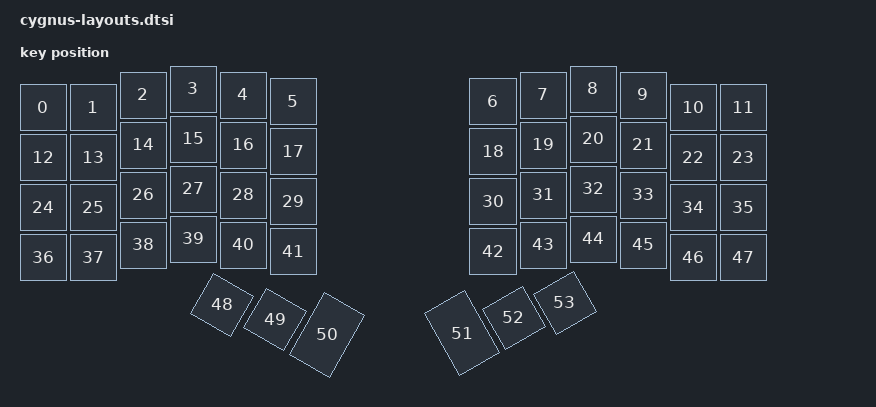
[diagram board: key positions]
#include <physical_layouts.dtsi>

/ {
    physical_layout0: cygnus_physical_layout {
        compatible = "zmk,physical-layout";
        display-name = "Cygnus 4x6";
        transform = <&default_transform>;
        kscan = <&kscan0>;
        keys  //   w   h     x     y     rot   rx   ry
            = <&key_physical_attrs 100 100    0   37      0    0    0>
            , <&key_physical_attrs 100 100  100   37      0    0    0>
            , <&key_physical_attrs 100 100  200   12      0    0    0>
            , <&key_physical_attrs 100 100  300    0      0    0    0>
            , <&key_physical_attrs 100 100  400   12      0    0    0>
            , <&key_physical_attrs 100 100  500   25      0    0    0>
            , <&key_physical_attrs 100 100  900   25      0    0    0>
            , <&key_physical_attrs 100 100 1000   12      0    0    0>
            , <&key_physical_attrs 100 100 1100    0      0    0    0>
            , <&key_physical_attrs 100 100 1200   12      0    0    0>
            , <&key_physical_attrs 100 100 1300   37      0    0    0>
            , <&key_physical_attrs 100 100 1400   37      0    0    0>
            , <&key_physical_attrs 100 100    0  137      0    0    0>
            , <&key_physical_attrs 100 100  100  137      0    0    0>
            , <&key_physical_attrs 100 100  200  112      0    0    0>
            , <&key_physical_attrs 100 100  300  100      0    0    0>
            , <&key_physical_attrs 100 100  400  112      0    0    0>
            , <&key_physical_attrs 100 100  500  125      0    0    0>
            , <&key_physical_attrs 100 100  900  125      0    0    0>
            , <&key_physical_attrs 100 100 1000  112      0    0    0>
            , <&key_physical_attrs 100 100 1100  100      0    0    0>
            , <&key_physical_attrs 100 100 1200  112      0    0    0>
            , <&key_physical_attrs 100 100 1300  137      0    0    0>
            , <&key_physical_attrs 100 100 1400  137      0    0    0>
            , <&key_physical_attrs 100 100    0  237      0    0    0>
            , <&key_physical_attrs 100 100  100  237      0    0    0>
            , <&key_physical_attrs 100 100  200  212      0    0    0>
            , <&key_physical_attrs 100 100  300  200      0    0    0>
            , <&key_physical_attrs 100 100  400  212      0    0    0>
            , <&key_physical_attrs 100 100  500  225      0    0    0>
            , <&key_physical_attrs 100 100  900  225      0    0    0>
            , <&key_physical_attrs 100 100 1000  212      0    0    0>
            , <&key_physical_attrs 100 100 1100  200      0    0    0>
            , <&key_physical_attrs 100 100 1200  212      0    0    0>
            , <&key_physical_attrs 100 100 1300  237      0    0    0>
            , <&key_physical_attrs 100 100 1400  237      0    0    0>
            , <&key_physical_attrs 100 100    0  337      0    0    0>
            , <&key_physical_attrs 100 100  100  337      0    0    0>
            , <&key_physical_attrs 100 100  200  312      0    0    0>
            , <&key_physical_attrs 100 100  300  300      0    0    0>
            , <&key_physical_attrs 100 100  400  312      0    0    0>
            , <&key_physical_attrs 100 100  500  325      0    0    0>
            , <&key_physical_attrs 100 100  900  325      0    0    0>
            , <&key_physical_attrs 100 100 1000  312      0    0    0>
            , <&key_physical_attrs 100 100 1100  300      0    0    0>
            , <&key_physical_attrs 100 100 1200  312      0    0    0>
            , <&key_physical_attrs 100 100 1300  337      0    0    0>
            , <&key_physical_attrs 100 100 1400  337      0    0    0>
            // Thumb cluster (left)
            , <&key_physical_attrs 100 100  390  413 3000  390  413>
            , <&key_physical_attrs 100 100  310  440 3000  398  789>
            , <&key_physical_attrs 100 150  415  390 3000  398  789>
            // Thumb cluster (right)
            , <&key_physical_attrs 100 150  992  390 (-3000) 1102  789>
            , <&key_physical_attrs 100 100 1097  440 (-3000) 1102  789>
            , <&key_physical_attrs 100 100 1025  460 (-3000) 1025  460>
            ;
    };
};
